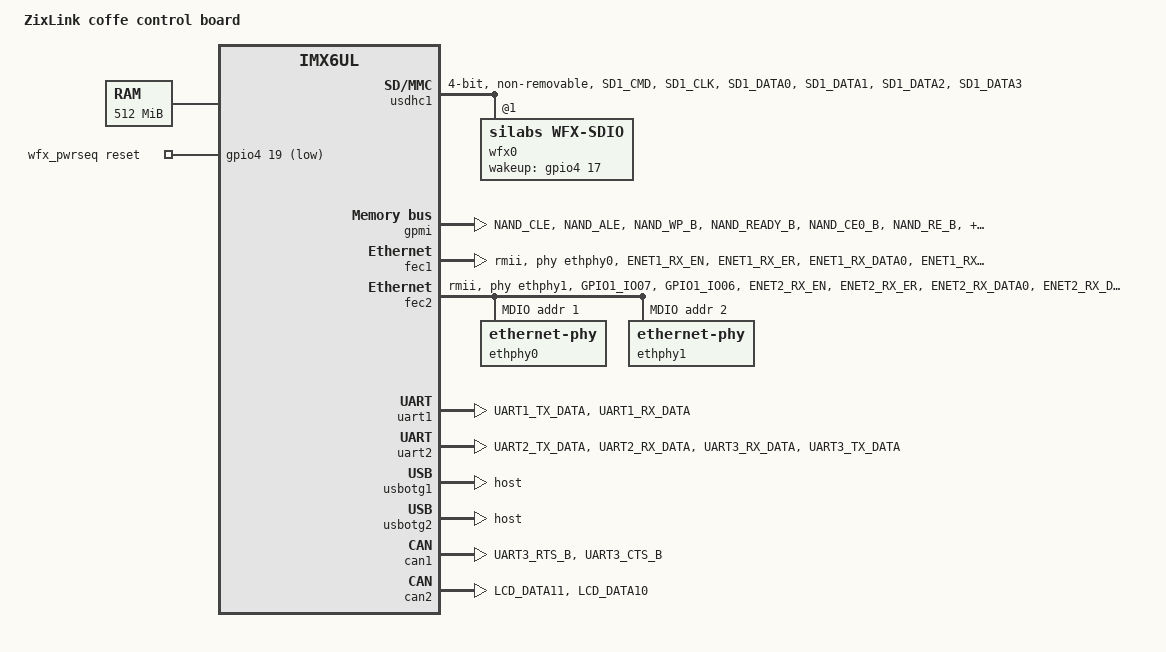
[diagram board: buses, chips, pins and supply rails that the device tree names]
/*
 * Copyright (C) 2015 Freescale Semiconductor, Inc.
 *
 * This program is free software; you can redistribute it and/or modify
 * it under the terms of the GNU General Public License version 2 as
 * published by the Free Software Foundation.
 */

/dts-v1/;

#include "imx6ul.dtsi"

/ {
	model = "ZixLink coffe control board";
	compatible = "fsl,zlcoffee-ctrl-brd", "fsl,imx6ul";

	chosen {
		stdout-path = &uart1;
	};

	memory {
		reg = <0x80000000 0x20000000>;
	};
	
	wfx_pwrseq: wfx_pwrseq {
		compatible = "mmc-pwrseq-simple";
		pinctrl-names = "default";
		pinctrl-0 = <&wfx_reset>;
		reset-gpios = <&gpio4 19 GPIO_ACTIVE_LOW>; // GPIO_ACTIVE_LOW
		post-power-on-delay-ms = 10;
	};
};

/*
no-1-8-v;
bus-width = <4>;
broken-cd;
wifi-host;
enable-sdio-wakeup;

echo -n "2190000.usdhc" > /sys/devices/soc0/soc/2100000.aips-bus/2190000.usdhc/driver/unbind
echo -n "2190000.usdhc" > /sys/bus/soc/devices/soc0/soc/2100000.aips-bus/2190000.usdhc/subsystem/drivers/sdhci-esdhc-imx/bind
*/

&usdhc1 {
	pinctrl-names = "default";
	pinctrl-0 = <&pinctrl_usdhc1>;
	keep-power-in-suspend;
	non-removable;
	status = "okay";
	
	bus-width = <4>;
	max-frequency = <500000>;
	
	mmc-pwrseq = <&wfx_pwrseq>;
	
	#address-cells = <1>;
	#size-cells = <0>;
	
	wfx0: wfx200@1 {
		compatible = "silabs,wfx-sdio";
		reg = <1>;
		pinctrl-names = "default";
		pinctrl-0 = <&wfx_wakeup>;
		wakeup-gpios = <&gpio4 17 GPIO_ACTIVE_HIGH>;
	};
};

&gpmi {
	pinctrl-names = "default";
	pinctrl-0 = <&pinctrl_gpmi_nand>;
	nand-on-flash-bbt;
	status = "okay";

	#address-cells = <1>;
	#size-cells = <1>;
};

&fec1 {
	pinctrl-names = "default";
	pinctrl-0 = <&pinctrl_enet1>;
	phy-mode = "rmii";
	phy-handle = <&ethphy0>;
	status = "okay";
};

&fec2 {
	pinctrl-names = "default";
	pinctrl-0 = <&pinctrl_enet2>;
	phy-mode = "rmii";
	phy-handle = <&ethphy1>;
	status = "okay";

	mdio {
		#address-cells = <1>;
		#size-cells = <0>;

		ethphy0: ethernet-phy@1 {
			reg = <1>;
			micrel,led-mode = <1>;
			clocks = <&clks IMX6UL_CLK_ENET_REF>;
			clock-names = "rmii-ref";
		};

		ethphy1: ethernet-phy@2 {
			reg = <2>;
			micrel,led-mode = <1>;
			clocks = <&clks IMX6UL_CLK_ENET2_REF>;
			clock-names = "rmii-ref";
		};
	};
};

&snvs_poweroff {
	status = "okay";
};

&uart1 {
	pinctrl-names = "default";
	pinctrl-0 = <&pinctrl_uart1>;
	status = "okay";
};

&uart2 {
	pinctrl-names = "default";
	pinctrl-0 = <&pinctrl_uart2>;
	uart-has-rtscts;
	status = "okay";
};

&usbotg1 {
	dr_mode = "host";
	disable-over-current;
	status = "okay";
};

&usbotg2 {
	dr_mode = "host";
	disable-over-current;
	status = "okay";
};

&usbphy1 {
	fsl,tx-d-cal = <106>;
};

&usbphy2 {
	fsl,tx-d-cal = <106>;
};

&can1 {
	pinctrl-names = "default";
	pinctrl-0 = <&pinctrl_flexcan1>;
	status = "okay";
};

&can2 {
	pinctrl-names = "default";
	pinctrl-0 = <&pinctrl_flexcan2>;
	status = "okay";
};

&iomuxc {
	pinctrl-names = "default";
	
	pinctrl_usdhc1: usdhc1grp {
		fsl,pins = <
			MX6UL_PAD_SD1_CMD__USDHC1_CMD     0x170f9
			MX6UL_PAD_SD1_CLK__USDHC1_CLK     0x100f9
			MX6UL_PAD_SD1_DATA0__USDHC1_DATA0 0x170f9
			MX6UL_PAD_SD1_DATA1__USDHC1_DATA1 0x170f9
			MX6UL_PAD_SD1_DATA2__USDHC1_DATA2 0x170f9
			MX6UL_PAD_SD1_DATA3__USDHC1_DATA3 0x170f9
		>;
	};
	
	wfx_reset: wfx_reset_grp {
		fsl,pins = <
			MX6UL_PAD_CSI_VSYNC__GPIO4_IO19		0xb0b1
		>;
	};
	
	wfx_wakeup: wfx_wakeup_grp {
		fsl,pins = <
			MX6UL_PAD_CSI_MCLK__GPIO4_IO17		0xb0b1
		>;
	};
	
	pinctrl_gpmi_nand: gpminandgrp {
		fsl,pins = <
			MX6UL_PAD_NAND_CLE__RAWNAND_CLE         0xb0b1
			MX6UL_PAD_NAND_ALE__RAWNAND_ALE         0xb0b1
			MX6UL_PAD_NAND_WP_B__RAWNAND_WP_B       0xb0b1
			MX6UL_PAD_NAND_READY_B__RAWNAND_READY_B 0xb000
			MX6UL_PAD_NAND_CE0_B__RAWNAND_CE0_B     0xb0b1
			MX6UL_PAD_NAND_RE_B__RAWNAND_RE_B       0xb0b1
			MX6UL_PAD_NAND_WE_B__RAWNAND_WE_B       0xb0b1
			MX6UL_PAD_NAND_DATA00__RAWNAND_DATA00   0xb0b1
			MX6UL_PAD_NAND_DATA01__RAWNAND_DATA01   0xb0b1
			MX6UL_PAD_NAND_DATA02__RAWNAND_DATA02   0xb0b1
			MX6UL_PAD_NAND_DATA03__RAWNAND_DATA03   0xb0b1
			MX6UL_PAD_NAND_DATA04__RAWNAND_DATA04   0xb0b1
			MX6UL_PAD_NAND_DATA05__RAWNAND_DATA05   0xb0b1
			MX6UL_PAD_NAND_DATA06__RAWNAND_DATA06   0xb0b1
			MX6UL_PAD_NAND_DATA07__RAWNAND_DATA07   0xb0b1
		>;
	};


	pinctrl_enet1: enet1grp {
		fsl,pins = <
			MX6UL_PAD_ENET1_RX_EN__ENET1_RX_EN	0x1b0b0
			MX6UL_PAD_ENET1_RX_ER__ENET1_RX_ER	0x1b0b0
			MX6UL_PAD_ENET1_RX_DATA0__ENET1_RDATA00	0x1b0b0
			MX6UL_PAD_ENET1_RX_DATA1__ENET1_RDATA01	0x1b0b0
			MX6UL_PAD_ENET1_TX_EN__ENET1_TX_EN	0x1b0b0
			MX6UL_PAD_ENET1_TX_DATA0__ENET1_TDATA00	0x1b0b0
			MX6UL_PAD_ENET1_TX_DATA1__ENET1_TDATA01	0x1b0b0
			MX6UL_PAD_ENET1_TX_CLK__ENET1_REF_CLK1	0x4001b031
		>;
	};

	pinctrl_enet2: enet2grp {
		fsl,pins = <
			MX6UL_PAD_GPIO1_IO07__ENET2_MDC		0x1b0b0
			MX6UL_PAD_GPIO1_IO06__ENET2_MDIO	0x1b0b0
			MX6UL_PAD_ENET2_RX_EN__ENET2_RX_EN	0x1b0b0
			MX6UL_PAD_ENET2_RX_ER__ENET2_RX_ER	0x1b0b0
			MX6UL_PAD_ENET2_RX_DATA0__ENET2_RDATA00	0x1b0b0
			MX6UL_PAD_ENET2_RX_DATA1__ENET2_RDATA01	0x1b0b0
			MX6UL_PAD_ENET2_TX_EN__ENET2_TX_EN	0x1b0b0
			MX6UL_PAD_ENET2_TX_DATA0__ENET2_TDATA00	0x1b0b0
			MX6UL_PAD_ENET2_TX_DATA1__ENET2_TDATA01	0x1b0b0
			MX6UL_PAD_ENET2_TX_CLK__ENET2_REF_CLK2	0x4001b031
		>;
	};

	pinctrl_flexcan1: flexcan1grp{
		fsl,pins = <
			MX6UL_PAD_UART3_RTS_B__FLEXCAN1_RX	0x1b020
			MX6UL_PAD_UART3_CTS_B__FLEXCAN1_TX	0x1b020
		>;
	};

	pinctrl_flexcan2: flexcan2grp{
		fsl,pins = <
			MX6UL_PAD_LCD_DATA11__FLEXCAN2_RX	0x1b020
			MX6UL_PAD_LCD_DATA10__FLEXCAN2_TX	0x1b020
		>;
	};

	pinctrl_i2c1: i2c1grp {
		fsl,pins = <
			MX6UL_PAD_UART4_TX_DATA__I2C1_SCL 0x4001b8b0
			MX6UL_PAD_UART4_RX_DATA__I2C1_SDA 0x4001b8b0
		>;
	};

	pinctrl_i2c2: i2c2grp {
		fsl,pins = <
			MX6UL_PAD_UART5_TX_DATA__I2C2_SCL 0x4001b8b0
			MX6UL_PAD_UART5_RX_DATA__I2C2_SDA 0x4001b8b0
		>;
	};

	pinctrl_uart1: uart1grp {
		fsl,pins = <
			MX6UL_PAD_UART1_TX_DATA__UART1_DCE_TX 0x1b0b1
			MX6UL_PAD_UART1_RX_DATA__UART1_DCE_RX 0x1b0b1
		>;
	};

	pinctrl_uart2: uart2grp {
		fsl,pins = <
			MX6UL_PAD_UART2_TX_DATA__UART2_DCE_TX	0x1b0b1
			MX6UL_PAD_UART2_RX_DATA__UART2_DCE_RX	0x1b0b1
			MX6UL_PAD_UART3_RX_DATA__UART2_DCE_RTS	0x1b0b1
			MX6UL_PAD_UART3_TX_DATA__UART2_DCE_CTS	0x1b0b1
		>;
	};
};
